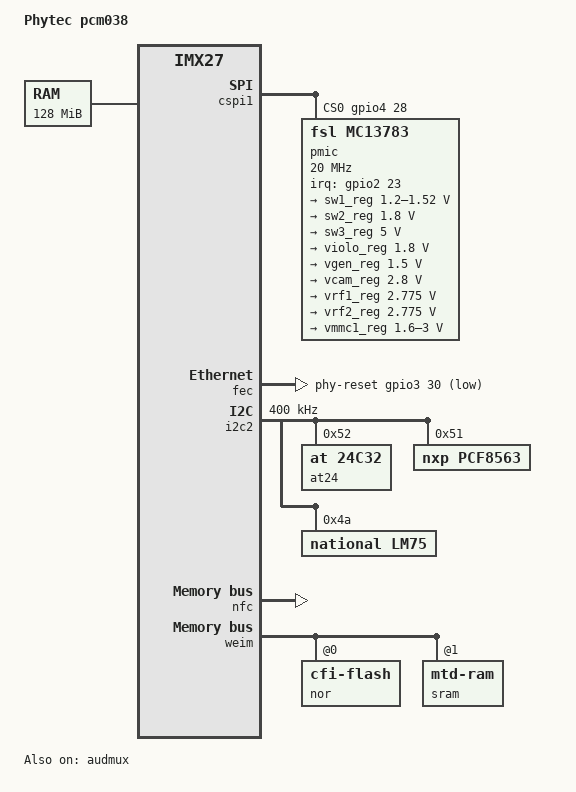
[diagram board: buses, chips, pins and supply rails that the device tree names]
/*
 * Copyright 2012 Sascha Hauer, Pengutronix
 *
 * The code contained herein is licensed under the GNU General Public
 * License. You may obtain a copy of the GNU General Public License
 * Version 2 or later at the following locations:
 *
 * http://www.opensource.org/licenses/gpl-license.html
 * http://www.gnu.org/copyleft/gpl.html
 */

/dts-v1/;
#include "imx27.dtsi"

/ {
	model = "Phytec pcm038";
	compatible = "phytec,imx27-pcm038", "fsl,imx27";

	memory {
		reg = <0xa0000000 0x08000000>;
	};
};

&audmux {
	status = "okay";

	/* SSI0 <=> PINS_4 (MC13783 Audio) */
	ssi0 {
		fsl,audmux-port = <0>;
		fsl,port-config = <0xcb205000>;
	};

	pins4 {
		fsl,audmux-port = <2>;
		fsl,port-config = <0x00001000>;
	};
};

&cspi1 {
	fsl,spi-num-chipselects = <1>;
	cs-gpios = <&gpio4 28 0>;
	status = "okay";

	pmic: mc13783@0 {
		#address-cells = <1>;
		#size-cells = <0>;
		compatible = "fsl,mc13783";
		spi-max-frequency = <20000000>;
		reg = <0>;
		interrupt-parent = <&gpio2>;
		interrupts = <23 0x4>;
		fsl,mc13xxx-uses-adc;
		fsl,mc13xxx-uses-rtc;

		regulators {
			/* SW1A and SW1B joined operation */
			sw1_reg: sw1a {
				regulator-min-microvolt = <1200000>;
				regulator-max-microvolt = <1520000>;
				regulator-always-on;
				regulator-boot-on;
			};

			/* SW2A and SW2B joined operation */
			sw2_reg: sw2a {
				regulator-min-microvolt = <1800000>;
				regulator-max-microvolt = <1800000>;
				regulator-always-on;
				regulator-boot-on;
			};

			sw3_reg: sw3 {
				regulator-min-microvolt = <5000000>;
				regulator-max-microvolt = <5000000>;
				regulator-always-on;
				regulator-boot-on;
			};

			vaudio_reg: vaudio {
				regulator-always-on;
				regulator-boot-on;
			};

			violo_reg: violo {
				regulator-min-microvolt = <1800000>;
				regulator-max-microvolt = <1800000>;
				regulator-always-on;
				regulator-boot-on;
			};

			viohi_reg: viohi {
				regulator-always-on;
				regulator-boot-on;
			};

			vgen_reg: vgen {
				regulator-min-microvolt = <1500000>;
				regulator-max-microvolt = <1500000>;
				regulator-always-on;
				regulator-boot-on;
			};

			vcam_reg: vcam {
				regulator-min-microvolt = <2800000>;
				regulator-max-microvolt = <2800000>;
			};

			vrf1_reg: vrf1 {
				regulator-min-microvolt = <2775000>;
				regulator-max-microvolt = <2775000>;
				regulator-always-on;
				regulator-boot-on;
			};

			vrf2_reg: vrf2 {
				regulator-min-microvolt = <2775000>;
				regulator-max-microvolt = <2775000>;
				regulator-always-on;
				regulator-boot-on;
			};

			vmmc1_reg: vmmc1 {
				regulator-min-microvolt = <1600000>;
				regulator-max-microvolt = <3000000>;
			};

			gpo1_reg: gpo1 { };

			pwgt1spi_reg: pwgt1spi {
				regulator-always-on;
			};
		};
	};
};

&fec {
	phy-reset-gpios = <&gpio3 30 0>;
	status = "okay";
};

&i2c2 {
	clock-frequency = <400000>;
	status = "okay";

	at24@52 {
		compatible = "at,24c32";
		pagesize = <32>;
		reg = <0x52>;
	};

	pcf8563@51 {
		compatible = "nxp,pcf8563";
		reg = <0x51>;
	};

	lm75@4a {
		compatible = "national,lm75";
		reg = <0x4a>;
	};
};

&nfc {
	nand-bus-width = <8>;
	nand-ecc-mode = "hw";
	status = "okay";
};

&weim {
	status = "okay";

	nor: nor@c0000000 {
		compatible = "cfi-flash";
		reg = <0 0x00000000 0x02000000>;
		bank-width = <2>;
		linux,mtd-name = "physmap-flash.0";
		fsl,weim-cs-timing = <0x22c2cf00 0x75000d01 0x00000900>;
		#address-cells = <1>;
		#size-cells = <1>;
	};

	sram: sram@c8000000 {
		compatible = "mtd-ram";
		reg = <1 0x00000000 0x00800000>;
		bank-width = <2>;
		linux,mtd-name = "mtd-ram.0";
		fsl,weim-cs-timing = <0x0000d843 0x22252521 0x22220a00>;
		#address-cells = <1>;
		#size-cells = <1>;
	};
};
